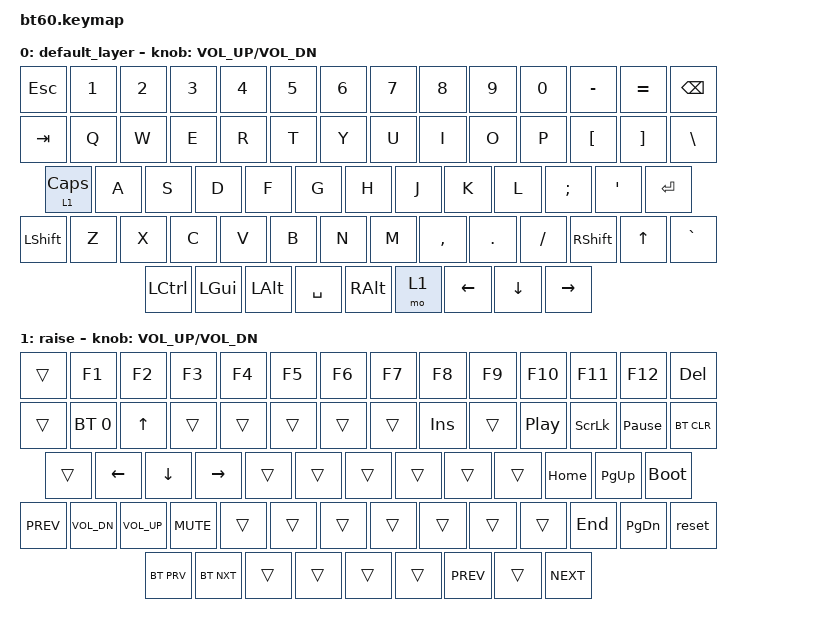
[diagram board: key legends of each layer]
#include <behaviors.dtsi>
#include <dt-bindings/zmk/keys.h>
#include <dt-bindings/zmk/bt.h>


/ {
	keymap {
		compatible = "zmk,keymap";

		default_layer {
				// ------------------------------------------------------------------------------------------
				// | ESC |  1  |  2  |  3  |  4  |  5  |  6  |  7  |  8  |  9  |  0  |  -  |  =  |   BKSP   |
				// | TAB  |  Q  |  W  |  E  |  R  |  T  |  Y  |  U  |  I  |  O  |  P  |  [  |  ]  |   "|"   |
				// | CAPS  |  A  |  S  |  D  |  F  |  G  |  H  |  J  |  K  |  L  |  ;  |  '  |     ENTER    |
				// |  SHIFT    |  Z  |  X  |  C  |  V  |  B  |  N  |  M  |  ,  |  .  | /   | SHFT | UP | 1  |
				// |  CTL  |  WIN  |  ALT  |            SPACE              | ALT | CTRL | LEFT | DOWN | RIGHT |
				// ------------------------------------------------------------------------------------------
			bindings = <
				&kp ESC &kp N1 &kp N2 &kp N3 &kp N4 &kp N5 &kp N6 &kp N7 &kp  N8   &kp  N9 &kp  N0  &kp MINUS &kp EQUAL &kp BSPC
				&kp TAB  &kp Q  &kp W  &kp E  &kp R  &kp T  &kp Y  &kp U  &kp  I    &kp  O  &kp  P   &kp LBKT &kp RBKT  &kp BSLH
				&lt 1 CLCK  &kp A  &kp S  &kp D  &kp F  &kp G  &kp H  &kp J  &kp  K    &kp  L  &kp SEMI &kp SQT           &kp RET
				&kp LSHFT  &kp Z  &kp X  &kp C  &kp V  &kp B  &kp N  &kp M  &kp COMMA &kp DOT &kp FSLH    &kp RSHFT &kp UP   &kp GRAVE
				&kp LCTRL &kp LGUI &kp LALT            &kp SPACE                          &kp RALT  &mo 1 &kp LEFT &kp DOWN &kp RIGHT
			>;
			sensor-bindings = <&inc_dec_kp C_VOL_UP C_VOL_DN>;
		};
		raise {
			bindings = <
				&trans &kp F1 &kp F2 &kp F3 &kp F4 &kp F5 &kp F6 &kp F7 &kp  F8   &kp  F9 &kp  F10  &kp F11 &kp F12   &kp DEL
				&trans &bt BT_SEL 0 &kp UP &trans &trans &trans &trans &trans &kp INS &trans &kp C_PP &kp SLCK &kp PAUSE_BREAK &bt BT_CLR
				&trans    &kp LEFT &kp DOWN &kp RIGHT &trans &trans &trans &trans &trans &trans &kp HOME  &kp PG_UP   &bootloader
				&kp C_PREV &kp C_VOL_DN &kp C_VOL_UP &kp C_MUTE &trans &trans &trans &trans &trans &trans &trans &kp END &kp PG_DN  &reset
				&bt BT_PRV &bt BT_NXT  &trans              &trans                            &trans  &trans &kp C_PREV   &trans &kp C_NEXT
			>;
			sensor-bindings = <&inc_dec_kp C_VOL_UP C_VOL_DN>;
		};
	};
};
 
